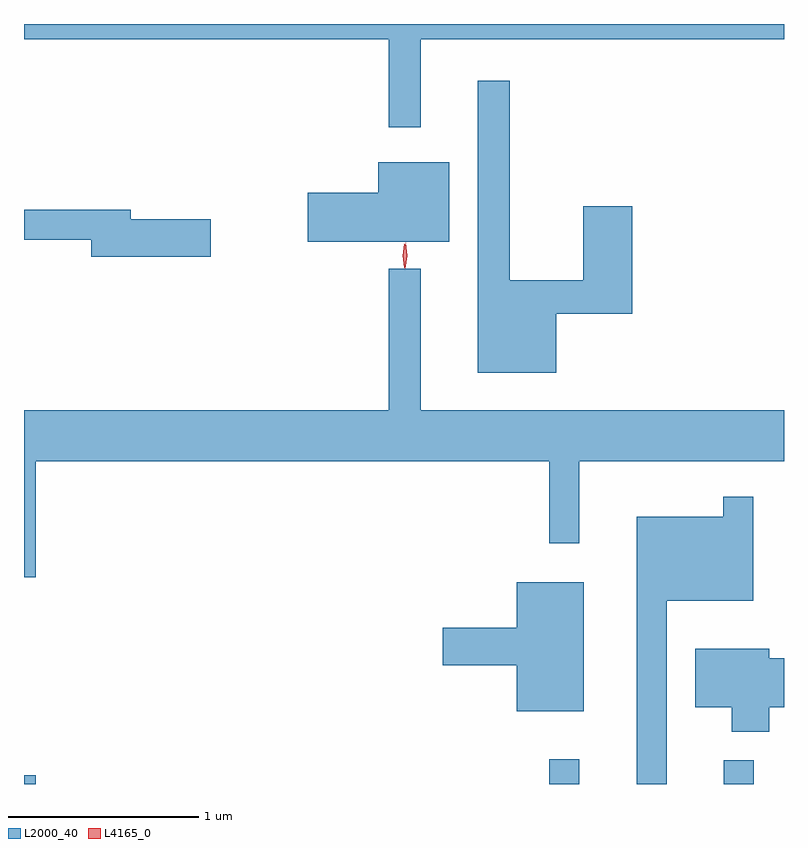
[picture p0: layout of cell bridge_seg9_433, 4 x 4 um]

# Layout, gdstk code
import gdstk
lib = gdstk.Library(unit=1e-6, precision=1e-09)
def R(c, l, rs):  # rectangles x0, y0, x1, y1
    for r in rs: c.add(gdstk.rectangle(r[:2], r[2:], *l))
def P(c, l, *ps):  # polygons
    for p in ps: c.add(gdstk.Polygon(p, *l))
L2000_40 = (2000, 40)
L4165_0 = (4165, 0)

bridge_seg9_433 = lib.new_cell('bridge_seg9_433')
R(bridge_seg9_433, L2000_40, [(375.122,2036.737,375.184,2036.784), (377.886,2036.737,378.044,2036.868), (378.806,2036.737,378.964,2036.863)])
P(bridge_seg9_433, L2000_40, [(377.209,2040.656),(379.122,2040.656),(379.122,2040.737),(375.122,2040.737),(375.122,2040.656),(377.041,2040.656),(377.041,2040.193),(377.209,2040.193)],
  [(377.924,2039.211),(378.324,2039.211),(378.324,2039.779),(378.066,2039.779),(378.066,2039.389),(377.679,2039.389),(377.679,2040.438),(377.511,2040.438),(377.511,2038.901),(377.924,2038.901)],
  [(377.359,2040.009),(376.986,2040.009),(376.986,2039.849),(376.616,2039.849),(376.616,2039.591),(377.359,2039.591)],
  [(376.104,2039.709),(375.684,2039.709),(375.684,2039.759),(375.122,2039.759),(375.122,2039.601),(375.476,2039.601),(375.476,2039.511),(376.104,2039.511)],
  [(375.184,2038.436),(377.886,2038.436),(377.886,2038.003),(378.044,2038.003),(378.044,2038.436),(379.122,2038.436),(379.122,2038.704),(377.209,2038.704),(377.209,2039.448),(377.041,2039.448),(377.041,2038.704),(375.122,2038.704),(375.122,2037.826),(375.184,2037.826)],
  [(378.504,2037.701),(378.959,2037.701),(378.959,2038.248),(378.801,2038.248),(378.801,2038.144),(378.346,2038.144),(378.346,2036.737),(378.504,2036.737)],
  [(378.069,2037.799),(377.716,2037.799),(377.716,2037.559),(377.326,2037.559),(377.326,2037.361),(377.716,2037.361),(377.716,2037.121),(378.069,2037.121)],
  [(379.044,2037.141),(379.122,2037.141),(379.122,2037.399),(379.044,2037.399),(379.044,2037.449),(378.656,2037.449),(378.656,2037.141),(378.846,2037.141),(378.846,2037.011),(379.044,2037.011)])
P(bridge_seg9_433, L4165_0, [(377.128,2039.45),(377.128,2039.45),(377.12,2039.518),(377.13,2039.586),(377.13,2039.586),(377.131,2039.586),(377.139,2039.518),(377.129,2039.45)],
  [(377.124,2039.453),(377.115,2039.516),(377.124,2039.579),(377.124,2039.58),(377.125,2039.579),(377.135,2039.516),(377.125,2039.453),(377.125,2039.453)])

lib.write_gds('bridge_seg9_433.gds')
